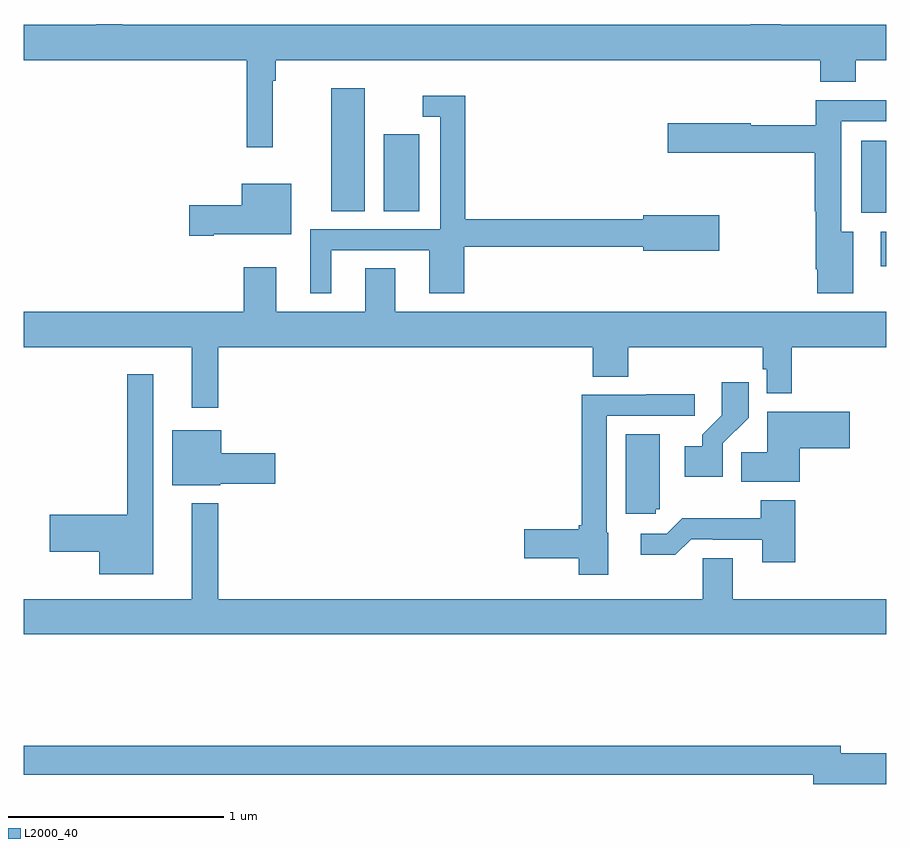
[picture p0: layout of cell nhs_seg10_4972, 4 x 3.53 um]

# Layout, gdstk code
import gdstk
lib = gdstk.Library(unit=1e-6, precision=1e-09)
def R(c, l, rs):  # rectangles x0, y0, x1, y1
    for r in rs: c.add(gdstk.rectangle(r[:2], r[2:], *l))
def P(c, l, *ps):  # polygons
    for p in ps: c.add(gdstk.Polygon(p, *l))
L2000_40 = (2000, 40)

nhs_seg10_4972 = lib.new_cell('nhs_seg10_4972')
R(nhs_seg10_4972, L2000_40, [(402.975,1283.376,403,1283.535), (402.884,1283.624,403,1283.959), (400.427,1283.632,400.582,1284.202), (400.67,1283.632,400.834,1283.989)])
P(nhs_seg10_4972, L2000_40, [(400.154,1284.236),(400.169,1284.236),(400.169,1284.332),(402.695,1284.332),(402.695,1284.233),(402.86,1284.233),(402.86,1284.332),(403,1284.332),(403,1284.496),(402.511,1284.496),(402.511,1284.5),(402.372,1284.5),(402.372,1284.496),(399.457,1284.496),(399.457,1284.5),(399.335,1284.5),(399.335,1284.496),(399,1284.496),(399,1284.332),(400.033,1284.332),(400.033,1283.928),(400.154,1283.928)],
  [(400.426,1283.451),(400.88,1283.451),(400.88,1283.25),(401.042,1283.25),(401.042,1283.466),(401.873,1283.466),(401.873,1283.447),(402.226,1283.447),(402.226,1283.613),(401.873,1283.613),(401.873,1283.594),(401.048,1283.594),(401.048,1284.166),(400.851,1284.166),(400.851,1284.069),(400.932,1284.069),(400.932,1283.547),(400.328,1283.547),(400.328,1283.25),(400.426,1283.25)],
  [(402.847,1283.536),(402.793,1283.536),(402.793,1284.048),(403,1284.048),(403,1284.146),(402.673,1284.146),(402.673,1284.031),(402.372,1284.031),(402.372,1284.039),(401.988,1284.039),(401.988,1283.902),(402.668,1283.902),(402.668,1283.632),(402.673,1283.632),(402.673,1283.362),(402.68,1283.362),(402.68,1283.25),(402.847,1283.25)],
  [(399.88,1283.525),(400.24,1283.525),(400.24,1283.758),(400.01,1283.758),(400.01,1283.66),(399.768,1283.66),(399.768,1283.518),(399.88,1283.518)],
  [(399.901,1283),(401.639,1283),(401.639,1282.864),(401.804,1282.864),(401.804,1283),(402.427,1283),(402.427,1282.899),(402.447,1282.899),(402.447,1282.787),(402.563,1282.787),(402.563,1283),(403,1283),(403,1283.164),(400.723,1283.164),(400.723,1283.366),(400.583,1283.366),(400.583,1283.164),(400.171,1283.164),(400.171,1283.371),(400.019,1283.371),(400.019,1283.164),(399,1283.164),(399,1283),(399.779,1283),(399.779,1282.719),(399.901,1282.719)],
  [(399.601,1282.876),(399.48,1282.876),(399.48,1282.223),(399.12,1282.223),(399.12,1282.052),(399.35,1282.052),(399.35,1281.947),(399.601,1281.947)],
  [(402.243,1282.555),(402.362,1282.674),(402.362,1282.837),(402.237,1282.837),(402.237,1282.685),(402.146,1282.595),(402.146,1282.54),(402.066,1282.54),(402.066,1282.4),(402.243,1282.4)],
  [(401.71,1282.14),(401.703,1282.14),(401.703,1282.683),(402.112,1282.683),(402.112,1282.782),(401.887,1282.782),(401.887,1282.779),(401.587,1282.779),(401.587,1282.175),(401.574,1282.175),(401.574,1282.157),(401.322,1282.157),(401.322,1282.022),(401.574,1282.022),(401.574,1281.944),(401.71,1281.944)],
  [(402.599,1282.532),(402.832,1282.532),(402.832,1282.702),(402.449,1282.702),(402.449,1282.514),(402.328,1282.514),(402.328,1282.376),(402.599,1282.376)],
  [(399.912,1282.367),(400.165,1282.367),(400.165,1282.509),(399.916,1282.509),(399.916,1282.615),(399.689,1282.615),(399.689,1282.361),(399.912,1282.361)],
  [(401.931,1282.248),(401.95,1282.248),(401.95,1282.597),(401.792,1282.597),(401.792,1282.227),(401.931,1282.227)],
  [(402.578,1282.291),(402.418,1282.291),(402.418,1282.207),(402.055,1282.207),(401.982,1282.134),(401.862,1282.134),(401.862,1282.037),(402.023,1282.037),(402.096,1282.11),(402.196,1282.11),(402.196,1282.107),(402.425,1282.107),(402.425,1282.002),(402.578,1282.002)],
  [(403,1281.832),(402.289,1281.832),(402.289,1282.022),(402.15,1282.022),(402.15,1281.832),(399.901,1281.832),(399.901,1282.276),(399.779,1282.276),(399.779,1281.832),(399,1281.832),(399,1281.668),(403,1281.668)],
  [(403,1281.116),(402.79,1281.116),(402.79,1281.152),(399,1281.152),(399,1281.016),(402.662,1281.016),(402.662,1280.974),(403,1280.974)])

lib.write_gds('nhs_seg10_4972.gds')
